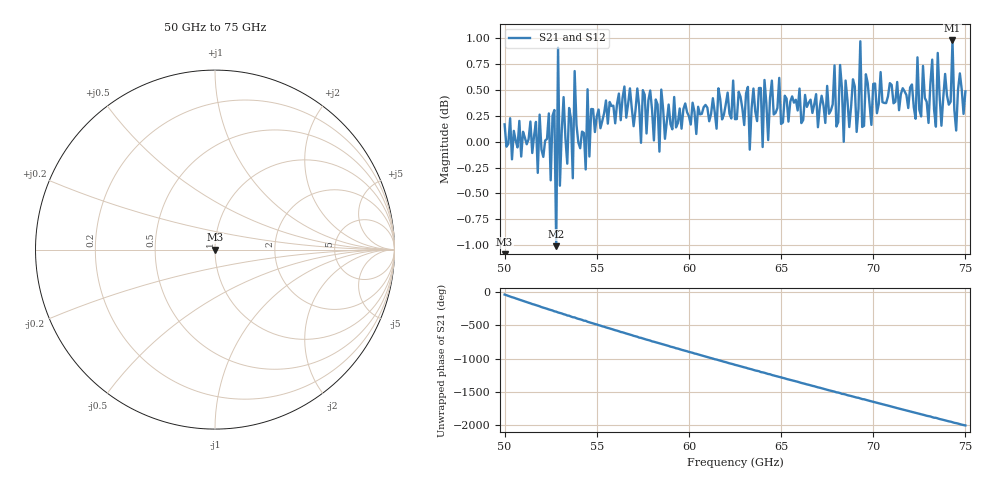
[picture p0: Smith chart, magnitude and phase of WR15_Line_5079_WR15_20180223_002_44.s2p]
# GHZ S RI R 50
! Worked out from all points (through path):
!   251 points, 50 GHz to 75 GHz, reference 50 ohm
!   highest |S21| = 0.98 dB at 74.3 GHz (marker M1); lowest = -1.0 dB at 52.8 GHz (marker M2)
!   lowest |S11| = - dB at 50 GHz (marker M3), VSWR 1.00, Z = 50 - j1.02e-15 ohm
!   |S11| at or under -10 dB: start of sweep to end of sweep
!   |S22| runs from - to - dB; largest |S21 - S12| = 1e-14
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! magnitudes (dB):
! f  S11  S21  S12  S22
! 50 GHz  -  0.2  0.2  -
! 52.4 GHz  -  0.3  0.3  -
! 52.5 GHz  -  -0.4  -0.4  -
! 52.7 GHz  -  0.3  0.3  -
! 52.8 GHz  -  -1.0  -1.0  -
! 52.9 GHz  -  0.9  0.9  -
! 53 GHz  -  -0.4  -0.4  -
! 53.2 GHz  -  0.4  0.4  -
! 53.7 GHz  -  -0.4  -0.4  -
! 53.8 GHz  -  0.7  0.7  -
! 54.2 GHz  -  0.1  0.1  -
! 58.4 GHz  -  -0.1  -0.1  -
! 62.5 GHz  -  0.2  0.2  -
! 66.7 GHz  -  0.3  0.3  -
! 70.9 GHz  -  0.6  0.6  -
! 73.2 GHz  -  0.8  0.8  -
! 73.4 GHz  -  0.1  0.1  -
! 73.5 GHz  -  0.9  0.9  -
! 73.7 GHz  -  0.2  0.2  -
! 74.3 GHz  -  1.0  1.0  -
! 74.5 GHz  -  0.1  0.1  -
! 75 GHz  -  0.5  0.5  -
